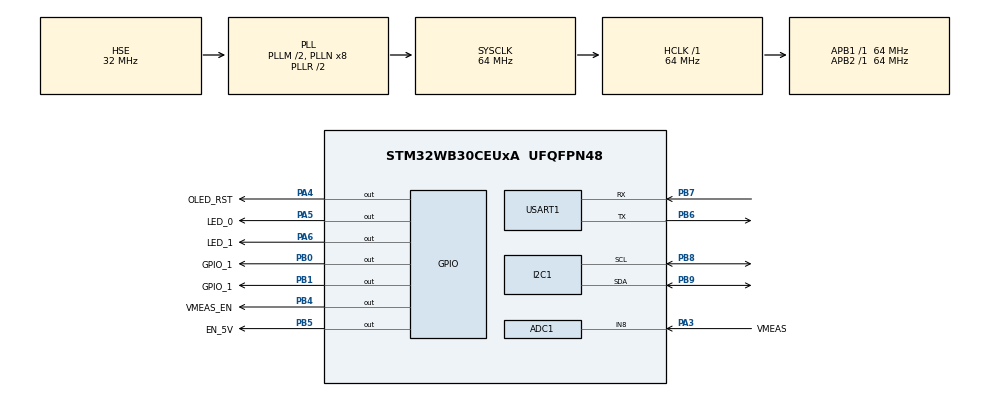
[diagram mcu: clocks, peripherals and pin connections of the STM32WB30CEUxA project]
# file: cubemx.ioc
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ADC1.Channel-1\#ChannelRegularConversion=ADC_CHANNEL_8
ADC1.ClockPrescaler=ADC_CLOCK_ASYNC_DIV4
ADC1.DataAlign=ADC_DATAALIGN_LEFT
ADC1.NbrOfConversion=1
ADC1.NbrOfConversionFlag=1
ADC1.OffsetNumber-1\#ChannelRegularConversion=ADC_OFFSET_NONE
ADC1.Rank-1\#ChannelRegularConversion=1
ADC1.SamplingTime-1\#ChannelRegularConversion=ADC_SAMPLETIME_247CYCLES_5
ADC1.master=1
Dma.Request0=USART1_RX
Dma.Request1=USART1_TX
Dma.USART1_RX.0.Direction=DMA_PERIPH_TO_MEMORY
Dma.USART1_RX.0.EventEnable=DISABLE
Dma.USART1_RX.0.Instance=DMA1_Channel1
Dma.USART1_RX.0.MemDataAlignment=DMA_MDATAALIGN_BYTE
Dma.USART1_RX.0.MemInc=DMA_MINC_ENABLE
Dma.USART1_RX.0.Mode=DMA_NORMAL
Dma.USART1_RX.0.PeriphDataAlignment=DMA_PDATAALIGN_BYTE
Dma.USART1_RX.0.PeriphInc=DMA_PINC_DISABLE
Dma.USART1_RX.0.Polarity=HAL_DMAMUX_REQ_GEN_RISING
Dma.USART1_RX.0.Priority=DMA_PRIORITY_LOW
Dma.USART1_RX.0.RequestNumber=1
Dma.USART1_RX.0.SignalID=NONE
Dma.USART1_RX.0.SyncEnable=DISABLE
Dma.USART1_RX.0.SyncPolarity=HAL_DMAMUX_SYNC_NO_EVENT
Dma.USART1_RX.0.SyncRequestNumber=1
Dma.USART1_RX.0.SyncSignalID=NONE
Dma.USART1_TX.1.Direction=DMA_MEMORY_TO_PERIPH
Dma.USART1_TX.1.EventEnable=DISABLE
Dma.USART1_TX.1.Instance=DMA1_Channel2
Dma.USART1_TX.1.MemDataAlignment=DMA_MDATAALIGN_BYTE
Dma.USART1_TX.1.MemInc=DMA_MINC_ENABLE
Dma.USART1_TX.1.Mode=DMA_NORMAL
Dma.USART1_TX.1.PeriphDataAlignment=DMA_PDATAALIGN_BYTE
Dma.USART1_TX.1.PeriphInc=DMA_PINC_DISABLE
Dma.USART1_TX.1.Polarity=HAL_DMAMUX_REQ_GEN_RISING
Dma.USART1_TX.1.Priority=DMA_PRIORITY_LOW
Dma.USART1_TX.1.RequestNumber=1
Dma.USART1_TX.1.SignalID=NONE
Dma.USART1_TX.1.SyncEnable=DISABLE
Dma.USART1_TX.1.SyncPolarity=HAL_DMAMUX_SYNC_NO_EVENT
Dma.USART1_TX.1.SyncRequestNumber=1
Dma.USART1_TX.1.SyncSignalID=NONE
I2C1.Timing=0x10707DBC
Mcu.Family=STM32WB
Mcu.Name=STM32WB30CEUxA
Mcu.Package=UFQFPN48
NVIC.DMA1_Channel1_IRQn=true\:0\:0\:false\:false\:true\:false\:true\:true
NVIC.DMA1_Channel2_IRQn=true\:0\:0\:false\:false\:true\:false\:true\:true
NVIC.HSEM_IRQn=true\:0\:0\:false\:false\:true\:false\:true\:true
NVIC.IPCC_C1_RX_IRQn=true\:0\:0\:false\:false\:true\:true\:true\:true
NVIC.IPCC_C1_TX_IRQn=true\:0\:0\:false\:false\:true\:true\:true\:true
NVIC.PriorityGroup=NVIC_PRIORITYGROUP_4
NVIC.USART1_IRQn=true\:0\:0\:false\:false\:true\:true\:true\:true
OSC_IN.Mode=HSE-External-Oscillator
OSC_IN.Signal=RCC_OSC_IN
OSC_OUT.Mode=HSE-External-Oscillator
OSC_OUT.Signal=RCC_OSC_OUT
PA13.Mode=Trace_Asynchronous_SW
PA13.Signal=SYS_JTMS-SWDIO
PA14.Mode=Trace_Asynchronous_SW
PA14.Signal=SYS_JTCK-SWCLK
PA3.GPIO_Label=VMEAS
PA3.Signal=ADCx_IN8
PA4.GPIO_Label=OLED_RST
PA4.Signal=GPIO_Output
PA5.GPIO_Label=LED_0
PA5.Signal=GPIO_Output
PA6.GPIO_Label=LED_1
PA6.Signal=GPIO_Output
PB0.GPIO_Label=GPIO_1
PB0.Signal=GPIO_Output
PB1.GPIO_Label=GPIO_1
PB1.Signal=GPIO_Output
PB3.Mode=Trace_Asynchronous_SW
PB3.Signal=SYS_JTDO-SWO
PB4.GPIO_Label=VMEAS_EN
PB4.Signal=GPIO_Output
PB5.GPIO_Label=EN_5V
PB5.Signal=GPIO_Output
PB6.Mode=Asynchronous
PB6.Signal=USART1_TX
PB7.Mode=Asynchronous
PB7.Signal=USART1_RX
PB8.Mode=I2C
PB8.Signal=I2C1_SCL
PB9.Mode=I2C
PB9.Signal=I2C1_SDA
PC14-OSC32_IN.Mode=LSE-External-Oscillator
PC14-OSC32_IN.Signal=RCC_OSC32_IN
PC15-OSC32_OUT.Mode=LSE-External-Oscillator
PC15-OSC32_OUT.Signal=RCC_OSC32_OUT
ProjectManager.HeapSize=0x400
ProjectManager.StackSize=0x800
ProjectManager.TargetToolchain=STM32CubeIDE
RCC.ADCCLockSelection=RCC_ADCCLKSOURCE_PLL
RCC.ADCFreq_Value=16000000
RCC.AHB2CLKDivider=RCC_SYSCLK_DIV2
RCC.AHBFreq_Value=64000000
RCC.APB1Freq_Value=64000000
RCC.APB1TimFreq_Value=64000000
RCC.APB2Freq_Value=64000000
RCC.APB2TimFreq_Value=64000000
RCC.APB3Freq_Value=16000000
RCC.CortexFreq_Value=64000000
RCC.HCLKFreq_Value=64000000
RCC.HSE_VALUE=32000000
RCC.HSI48_VALUE=48000000
RCC.HSI_VALUE=16000000
RCC.LSE_Drive_Capability=RCC_LSEDRIVE_MEDIUMHIGH
RCC.MSIClockRange=RCC_MSIRANGE_10
RCC.PLLM=RCC_PLLM_DIV2
RCC.PLLP=RCC_PLLP_DIV8
RCC.PLLSourceVirtual=RCC_PLLSOURCE_HSE
RCC.RFWKPClockSelection=RCC_RFWKPCLKSOURCE_LSE
RCC.RTCClockSelection=RCC_RTCCLKSOURCE_LSE
RCC.SYSCLKFreq_VALUE=64000000
RCC.SYSCLKSource=RCC_SYSCLKSOURCE_PLLCLK
RCC.VCOOutputFreq_Value=128000000
RF1.Mode=RF1_Activate
RF1.Signal=RF_RF1
SH.ADCx_IN8.0=ADC1_IN8,IN8-Single-Ended
STM32_WPAN.CFG_CLI_UART=hw_uart1
STM32_WPAN.CFG_HW_USART1_ENABLED=1
USART1.VirtualMode-Asynchronous=VM_ASYNC
VP_HSEM_VS_HSEM.Mode=HSEM_Activate
VP_IPCC_VS_IPCC.Mode=IPCC_Activate
VP_RTC_VS_RTC_Activate.Mode=RTC_Enabled
VP_SEQUENCER_VS_SEQUENCER.Mode=SEQUENCER_Enabled
VP_STM32_WPAN_VS_THREAD.Mode=STM32_WPAN_Enabled
VP_TINY_LPM_VS_TINY_LPM.Mode=TINY_LPM_Enabled
board=custom

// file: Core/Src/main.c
/* USER CODE BEGIN Header */
/**
  ******************************************************************************
  * @file           : main.c
  * @brief          : Main program body
  ******************************************************************************
  * @attention
  *
  * Copyright (c) 2022 STMicroelectronics.
  * All rights reserved.
  *
  * This software is licensed under terms that can be found in the LICENSE file
  * in the root directory of this software component.
  * If no LICENSE file comes with this software, it is provided AS-IS.
  *
  ******************************************************************************
  */
/* USER CODE END Header */
#include "main.h"
#include "adc.h"
#include "dma.h"
#include "i2c.h"
#include "ipcc.h"
#include "rf.h"
#include "rtc.h"
#include "usart.h"
#include "gpio.h"

/* USER CODE BEGIN Includes */

#include "../../Drivers/OLED/ssd1306.h"
#include "../../Drivers/SPS30/sps30.h"
#include "stdio.h"
#include "node_config.h"
#include "sensor_config.h"
/* USER CODE END Includes */

/* USER CODE BEGIN PV */
uint8_t SPS30_connector = 0;
/* USER CODE END PV */

void SystemClock_Config(void);
void PeriphCommonClock_Config(void);

/* USER CODE BEGIN 0 */
#define PUTCHAR_PROTOTYPE int __io_putchar(int ch)

PUTCHAR_PROTOTYPE
{
  /* Place your implementation of fputc here */
  /* e.g. write a character to the USART1 and Loop until the end of transmission */
  HAL_UART_Transmit(&huart1, (uint8_t *)&ch, 1, 0xFFFF);

  return ch;
}

void RTC_WKUP_IRQHandler(void)
{
	HW_TS_RTC_Wakeup_Handler();
}

/* USER CODE END 0 */

int main(void)
{

  /* MCU Configuration--------------------------------------------------------*/

  /* Reset of all peripherals, Initializes the Flash interface and the Systick. */
  HAL_Init();
  /* Config code for STM32_WPAN (HSE Tuning must be done before system clock configuration) */
  MX_APPE_Config();

  /* Configure the system clock */
  SystemClock_Config();

/* Configure the peripherals common clocks */
  PeriphCommonClock_Config();

  /* IPCC initialisation */
   MX_IPCC_Init();

  /* Initialize all configured peripherals */
  MX_GPIO_Init();
  MX_ADC1_Init();
  MX_I2C1_Init();
  MX_RF_Init();
  MX_RTC_Init();
  MX_DMA_Init();
  MX_USART1_UART_Init();
  /* USER CODE BEGIN 2 */
  UTIL_SEQ_Init();
  ssd1306_Init();
  ssd1306_Fill(Black);
  ssd1306_WriteString("Hello STM32 Thread!\n", Font_6x8, White);
  ssd1306_UpdateScreen();
  enable_5v();

  /* USER CODE END 2 */

  /* Init code for STM32_WPAN */
  MX_APPE_Init();

  /* Infinite loop */
  /* USER CODE BEGIN WHILE */
  while (1)
  {
/*
	  HAL_Delay(500);
	  HAL_GPIO_WritePin(LED_1_GPIO_Port, LED_1_Pin, 1);
	  HAL_Delay(500);
	  HAL_GPIO_WritePin(LED_1_GPIO_Port, LED_1_Pin, 0);
*/
/*
	  ssd1306_Fill(Black);
	     sensirion_sleep_usec(SPS30_MEASUREMENT_DURATION_USEC);
	     struct sps30_measurement m;
	     int16_t ret = sps30_read_measurement(&m);
	     if (ret < 0)
	     {
	        printf("error reading measurement\r\n");
	     }
	     else
	     {
	         	printf("measured values:\r\n"
	         			   "\t%0.2f pm1.0\r\n"
	         			   "\t%0.2f pm2.5\r\n"
	         			   "\t%0.2f pm4.0\r\n"
	         			   "\t%0.2f pm10.0\r\n"
	         			   "\t%0.2f nc0.5\r\n"
	         			   "\t%0.2f nc1.0\r\n"
	         			   "\t%0.2f nc2.5\r\n"
	         			   "\t%0.2f nc4.5\r\n"
	         			   "\t%0.2f nc10.0\r\n"
	         			   "\t%0.2f typical particle size\r\n\r\n",
	         			   m.mc_1p0, m.mc_2p5, m.mc_4p0, m.mc_10p0, m.nc_0p5, m.nc_1p0,
	         			   m.nc_2p5, m.nc_4p0, m.nc_10p0, m.typical_particle_size);

	         		char buffer[100];
	         		char buffer1[100];
	         		char buffer2[100];
	         		snprintf (buffer, 100,"%.2f %.2f %.2f %.2f" , m.mc_1p0, m.mc_2p5, m.mc_4p0, m.mc_10p0);
	         		snprintf (buffer1, 100,"%.2f %.2f %.2f %.2f %.2f %.2f" , m.nc_0p5, m.nc_1p0, m.nc_2p5, m.nc_4p0, m.nc_10p0, m.typical_particle_size);
	         		snprintf (buffer2, 100,"%.2f %.2f" ,  m.nc_10p0, m.typical_particle_size);
	         		ssd1306_SetCursor(0, 0);
	         		ssd1306_WriteString(buffer, Font_6x8, White);
	         		ssd1306_SetCursor(0, 20);
	         		ssd1306_WriteString(buffer1, Font_6x8, White);
	         		ssd1306_SetCursor(0, 40);
	         		ssd1306_WriteString(buffer2, Font_6x8, White);
	         		ssd1306_UpdateScreen();
	     }
*/

    /* USER CODE END WHILE */
    MX_APPE_Process();
    //printf("asd\n");

  }
}

void SystemClock_Config(void)
{
  RCC_OscInitTypeDef RCC_OscInitStruct = {0};
  RCC_ClkInitTypeDef RCC_ClkInitStruct = {0};

  /** Configure LSE Drive Capability
  */
  HAL_PWR_EnableBkUpAccess();
  __HAL_RCC_LSEDRIVE_CONFIG(RCC_LSEDRIVE_MEDIUMHIGH);

  /** Initializes the RCC Oscillators according to the specified parameters
  * in the RCC_OscInitTypeDef structure.
  */
  RCC_OscInitStruct.OscillatorType = RCC_OSCILLATORTYPE_HSI|RCC_OSCILLATORTYPE_HSE
                              |RCC_OSCILLATORTYPE_LSE;
  RCC_OscInitStruct.HSEState = RCC_HSE_ON;
  RCC_OscInitStruct.LSEState = RCC_LSE_ON;
  RCC_OscInitStruct.HSIState = RCC_HSI_ON;
  RCC_OscInitStruct.HSICalibrationValue = RCC_HSICALIBRATION_DEFAULT;
  RCC_OscInitStruct.PLL.PLLState = RCC_PLL_ON;
  RCC_OscInitStruct.PLL.PLLSource = RCC_PLLSOURCE_HSE;
  RCC_OscInitStruct.PLL.PLLM = RCC_PLLM_DIV2;
  RCC_OscInitStruct.PLL.PLLN = 8;
  RCC_OscInitStruct.PLL.PLLP = RCC_PLLP_DIV8;
  RCC_OscInitStruct.PLL.PLLR = RCC_PLLR_DIV2;
  RCC_OscInitStruct.PLL.PLLQ = RCC_PLLQ_DIV2;
  if (HAL_RCC_OscConfig(&RCC_OscInitStruct) != HAL_OK)
  {
    Error_Handler();
  }

  /** Configure the SYSCLKSource, HCLK, PCLK1 and PCLK2 clocks dividers
  */
  RCC_ClkInitStruct.ClockType = RCC_CLOCKTYPE_HCLK4|RCC_CLOCKTYPE_HCLK2
                              |RCC_CLOCKTYPE_HCLK|RCC_CLOCKTYPE_SYSCLK
                              |RCC_CLOCKTYPE_PCLK1|RCC_CLOCKTYPE_PCLK2;
  RCC_ClkInitStruct.SYSCLKSource = RCC_SYSCLKSOURCE_PLLCLK;
  RCC_ClkInitStruct.AHBCLKDivider = RCC_SYSCLK_DIV1;
  RCC_ClkInitStruct.APB1CLKDivider = RCC_HCLK_DIV1;
  RCC_ClkInitStruct.APB2CLKDivider = RCC_HCLK_DIV1;
  RCC_ClkInitStruct.AHBCLK2Divider = RCC_SYSCLK_DIV2;
  RCC_ClkInitStruct.AHBCLK4Divider = RCC_SYSCLK_DIV1;

  if (HAL_RCC_ClockConfig(&RCC_ClkInitStruct, FLASH_LATENCY_3) != HAL_OK)
  {
    Error_Handler();
  }
}

void PeriphCommonClock_Config(void)
{
  RCC_PeriphCLKInitTypeDef PeriphClkInitStruct = {0};

  /** Initializes the peripherals clock
  */
  PeriphClkInitStruct.PeriphClockSelection = RCC_PERIPHCLK_RFWAKEUP;
  PeriphClkInitStruct.RFWakeUpClockSelection = RCC_RFWKPCLKSOURCE_LSE;
  if (HAL_RCCEx_PeriphCLKConfig(&PeriphClkInitStruct) != HAL_OK)
  {
    Error_Handler();
  }
}

void Error_Handler(void)
{
  __disable_irq();
  while (1)
  {
  }
}
